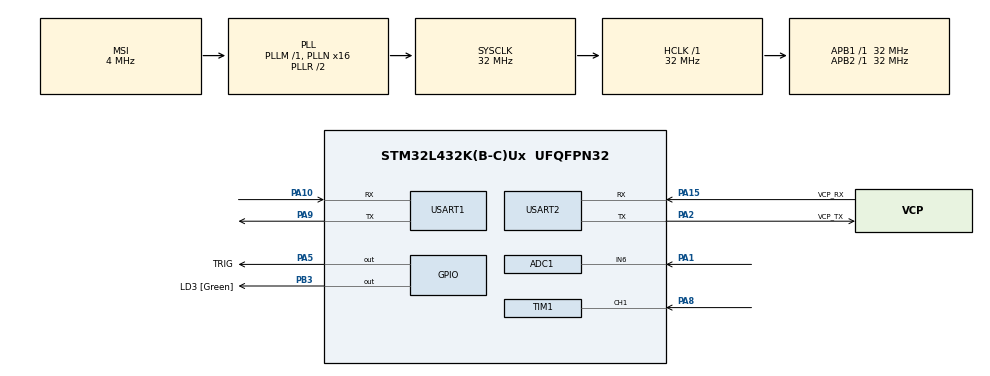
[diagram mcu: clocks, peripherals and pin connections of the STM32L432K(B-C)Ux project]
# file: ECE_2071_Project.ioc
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ADC1.Channel-0\#ChannelRegularConversion=ADC_CHANNEL_6
ADC1.NbrOfConversionFlag=1
ADC1.OffsetNumber-0\#ChannelRegularConversion=ADC_OFFSET_NONE
ADC1.Rank-0\#ChannelRegularConversion=1
ADC1.SamplingTime-0\#ChannelRegularConversion=ADC_SAMPLETIME_2CYCLES_5
ADC1.master=1
Mcu.Family=STM32L4
Mcu.Name=STM32L432K(B-C)Ux
Mcu.Package=UFQFPN32
NVIC.PriorityGroup=NVIC_PRIORITYGROUP_4
NVIC.TIM1_BRK_TIM15_IRQn=true\:0\:0\:false\:false\:true\:true\:true\:true
NVIC.TIM1_CC_IRQn=true\:0\:0\:false\:false\:true\:true\:true\:true
NVIC.TIM1_TRG_COM_IRQn=true\:0\:0\:false\:false\:true\:true\:true\:true
NVIC.TIM1_UP_TIM16_IRQn=true\:0\:0\:false\:false\:true\:true\:true\:true
NVIC.USART1_IRQn=true\:0\:0\:false\:false\:true\:true\:true\:true
PA0.GPIO_Label=MCO [High speed clock in]
PA0.Mode=HSE-External-Clock-Source-for-LittleOrca
PA0.Signal=RCC_CK_IN
PA1.Signal=ADCx_IN6
PA10.Mode=Asynchronous
PA10.Signal=USART1_RX
PA13\ (JTMS-SWDIO).GPIO_Label=SWDIO
PA13\ (JTMS-SWDIO).Mode=Serial_Wire
PA13\ (JTMS-SWDIO).Signal=SYS_JTMS-SWDIO
PA14\ (JTCK-SWCLK).GPIO_Label=SWCLK
PA14\ (JTCK-SWCLK).Mode=Serial_Wire
PA14\ (JTCK-SWCLK).Signal=SYS_JTCK-SWCLK
PA15\ (JTDI).GPIO_Label=VCP_RX
PA15\ (JTDI).Mode=Asynchronous
PA15\ (JTDI).Signal=USART2_RX
PA2.GPIO_Label=VCP_TX
PA2.Mode=Asynchronous
PA2.Signal=USART2_TX
PA5.GPIO_Label=TRIG
PA5.Signal=GPIO_Output
PA8.Signal=S_TIM1_CH1
PA9.Mode=Asynchronous
PA9.Signal=USART1_TX
PB3\ (JTDO-TRACESWO).GPIO_Label=LD3 [Green]
PB3\ (JTDO-TRACESWO).Signal=GPIO_Output
PC14-OSC32_IN\ (PC14).Mode=LSE-External-Oscillator
PC14-OSC32_IN\ (PC14).Signal=RCC_OSC32_IN
PC15-OSC32_OUT\ (PC15).Mode=LSE-External-Oscillator
PC15-OSC32_OUT\ (PC15).Signal=RCC_OSC32_OUT
ProjectManager.HeapSize=0x200
ProjectManager.StackSize=0x400
ProjectManager.TargetToolchain=STM32CubeIDE
RCC.ADCFreq_Value=32000000
RCC.AHBFreq_Value=32000000
RCC.APB1Freq_Value=32000000
RCC.APB1TimFreq_Value=32000000
RCC.APB2Freq_Value=32000000
RCC.APB2TimFreq_Value=32000000
RCC.CortexFreq_Value=32000000
RCC.HCLKFreq_Value=32000000
RCC.HSE_VALUE=8000000
RCC.HSI16_VALUE=16000000
RCC.HSI48_VALUE=48000000
RCC.HSI_VALUE=16000000
RCC.MSI_VALUE=4000000
RCC.PLLMUL=RCC_PLLMUL_4
RCC.PLLN=16
RCC.PLLSAI1N=16
RCC.SYSCLKFreq_VALUE=32000000
RCC.SYSCLKSource=RCC_SYSCLKSOURCE_PLLCLK
RCC.USBFreq_Value=32000000
RCC.VCOOutputFreq_Value=64000000
SH.ADCx_IN6.0=ADC1_IN6,IN6-Single-Ended
SH.S_TIM1_CH1.0=TIM1_CH1,Input_Capture1_from_TI1
TIM1.Channel-Input_Capture1_from_TI1=TIM_CHANNEL_1
TIM1.ICPolarity_CH1=TIM_INPUTCHANNELPOLARITY_BOTHEDGE
TIM1.Prescaler=32-1
USART1.VirtualMode-Asynchronous=VM_ASYNC
USART2.VirtualMode-Asynchronous=VM_ASYNC
VP_TIM1_VS_ClockSourceINT.Mode=Internal
board=NUCLEO-L432KC

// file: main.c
/* USER CODE BEGIN Header */
/**
  ******************************************************************************
  * @file           : main.c
  * @brief          : Main program body
  ******************************************************************************
  * @attention
  *
  * Copyright (c) 2024 STMicroelectronics.
  * All rights reserved.
  *
  * This software is licensed under terms that can be found in the LICENSE file
  * in the root directory of this software component.
  * If no LICENSE file comes with this software, it is provided AS-IS.
  *
  ******************************************************************************
  */
/* USER CODE END Header */
#include "main.h"

/* USER CODE BEGIN Includes */
#include <string.h>
#include <stdio.h>
/* USER CODE END Includes */

ADC_HandleTypeDef hadc1;

TIM_HandleTypeDef htim1;

UART_HandleTypeDef huart1;
UART_HandleTypeDef huart2;

void SystemClock_Config(void);
static void MX_GPIO_Init(void);
static void MX_USART2_UART_Init(void);
static void MX_TIM1_Init(void);
static void MX_USART1_UART_Init(void);
static void MX_ADC1_Init(void);

/* USER CODE BEGIN 0 */
uint8_t icFlag = 0;
uint8_t captureIdx = 0;
uint32_t edge1Time = 0;
uint32_t edge2Time = 0;

int distance;

char uartBuffer[50];

void HAL_TIM_IC_CaptureCallback(TIM_HandleTypeDef *htim){
	HAL_GPIO_TogglePin(LD3_GPIO_Port,LD3_Pin);

	if(captureIdx == 0)// first edge//
		{
		edge1Time = HAL_TIM_ReadCapturedValue(htim, TIM_CHANNEL_1);

		captureIdx = 1;
	}else if(captureIdx == 1)//second edge//
		 {
		edge2Time = HAL_TIM_ReadCapturedValue(htim, TIM_CHANNEL_1);

		captureIdx =0;
		icFlag =1;
	}
}
/* USER CODE END 0 */

int main(void)
{

  /* MCU Configuration--------------------------------------------------------*/

  /* Reset of all peripherals, Initializes the Flash interface and the Systick. */
  HAL_Init();

  /* Configure the system clock */
  SystemClock_Config();

  /* Initialize all configured peripherals */
  MX_GPIO_Init();
  MX_USART2_UART_Init();
  MX_TIM1_Init();
  MX_USART1_UART_Init();
  MX_ADC1_Init();

  /* Infinite loop */
  while (1)
  {

    /* USER CODE BEGIN 3 */
	  	  HAL_GPIO_WritePin(TRIG_GPIO_Port, TRIG_Pin, GPIO_PIN_RESET);
	  	  HAL_Delay(10);

	  	  //OUTPUT 10uSec TRIGGER
	  	  HAL_GPIO_WritePin(TRIG_GPIO_Port, TRIG_Pin, GPIO_PIN_SET);
	  	  HAL_Delay(10);
	  	  HAL_GPIO_WritePin(TRIG_GPIO_Port, TRIG_Pin, GPIO_PIN_RESET);

	  	  // Measuring the echo signal pulse width

	  	  //Start IC timer
	  	  HAL_TIM_IC_Start_IT(&htim1, TIM_CHANNEL_1);
	  	  // Wait for IC flag
	  	  uint32_t startTick = HAL_GetTick();
	  	  do
	  	  {
	  		if(icFlag) break;
	  	  }
	  	  while((HAL_GetTick()-startTick)< 500);//stop the timer if you does not get an echo pulse within 100 usec
	  	  icFlag = 0;
	  	  HAL_TIM_IC_Stop_IT(&htim1, TIM_CHANNEL_1);

	  	  //calculating the distance
	  	  if(edge2Time > edge1Time){
	  		  distance =((edge2Time - edge1Time)* 0.0343/2);
	  	  }else{
	  		  distance = 0.0;
	  	  }
	  	  sprintf(uartBuffer, "%.2d\r\n", distance);
	  	  HAL_UART_Transmit(&huart2, (uint8_t *)uartBuffer, strlen(uartBuffer),100);

	  	  HAL_Delay(100);

  }
  /* USER CODE END 3 */
}

void SystemClock_Config(void)
{
  RCC_OscInitTypeDef RCC_OscInitStruct = {0};
  RCC_ClkInitTypeDef RCC_ClkInitStruct = {0};

  /** Configure the main internal regulator output voltage
  */
  if (HAL_PWREx_ControlVoltageScaling(PWR_REGULATOR_VOLTAGE_SCALE1) != HAL_OK)
  {
    Error_Handler();
  }

  /** Configure LSE Drive Capability
  */
  HAL_PWR_EnableBkUpAccess();
  __HAL_RCC_LSEDRIVE_CONFIG(RCC_LSEDRIVE_LOW);

  /** Initializes the RCC Oscillators according to the specified parameters
  * in the RCC_OscInitTypeDef structure.
  */
  RCC_OscInitStruct.OscillatorType = RCC_OSCILLATORTYPE_LSE|RCC_OSCILLATORTYPE_MSI;
  RCC_OscInitStruct.LSEState = RCC_LSE_ON;
  RCC_OscInitStruct.MSIState = RCC_MSI_ON;
  RCC_OscInitStruct.MSICalibrationValue = 0;
  RCC_OscInitStruct.MSIClockRange = RCC_MSIRANGE_6;
  RCC_OscInitStruct.PLL.PLLState = RCC_PLL_ON;
  RCC_OscInitStruct.PLL.PLLSource = RCC_PLLSOURCE_MSI;
  RCC_OscInitStruct.PLL.PLLM = 1;
  RCC_OscInitStruct.PLL.PLLN = 16;
  RCC_OscInitStruct.PLL.PLLP = RCC_PLLP_DIV7;
  RCC_OscInitStruct.PLL.PLLQ = RCC_PLLQ_DIV2;
  RCC_OscInitStruct.PLL.PLLR = RCC_PLLR_DIV2;
  if (HAL_RCC_OscConfig(&RCC_OscInitStruct) != HAL_OK)
  {
    Error_Handler();
  }

  /** Initializes the CPU, AHB and APB buses clocks
  */
  RCC_ClkInitStruct.ClockType = RCC_CLOCKTYPE_HCLK|RCC_CLOCKTYPE_SYSCLK
                              |RCC_CLOCKTYPE_PCLK1|RCC_CLOCKTYPE_PCLK2;
  RCC_ClkInitStruct.SYSCLKSource = RCC_SYSCLKSOURCE_PLLCLK;
  RCC_ClkInitStruct.AHBCLKDivider = RCC_SYSCLK_DIV1;
  RCC_ClkInitStruct.APB1CLKDivider = RCC_HCLK_DIV1;
  RCC_ClkInitStruct.APB2CLKDivider = RCC_HCLK_DIV1;

  if (HAL_RCC_ClockConfig(&RCC_ClkInitStruct, FLASH_LATENCY_1) != HAL_OK)
  {
    Error_Handler();
  }

  /** Enable MSI Auto calibration
  */
  HAL_RCCEx_EnableMSIPLLMode();
}

static void MX_ADC1_Init(void)
{

  ADC_ChannelConfTypeDef sConfig = {0};

  /** Common config
  */
  hadc1.Instance = ADC1;
  hadc1.Init.ClockPrescaler = ADC_CLOCK_ASYNC_DIV1;
  hadc1.Init.Resolution = ADC_RESOLUTION_12B;
  hadc1.Init.DataAlign = ADC_DATAALIGN_RIGHT;
  hadc1.Init.ScanConvMode = ADC_SCAN_DISABLE;
  hadc1.Init.EOCSelection = ADC_EOC_SINGLE_CONV;
  hadc1.Init.LowPowerAutoWait = DISABLE;
  hadc1.Init.ContinuousConvMode = DISABLE;
  hadc1.Init.NbrOfConversion = 1;
  hadc1.Init.DiscontinuousConvMode = DISABLE;
  hadc1.Init.ExternalTrigConv = ADC_SOFTWARE_START;
  hadc1.Init.ExternalTrigConvEdge = ADC_EXTERNALTRIGCONVEDGE_NONE;
  hadc1.Init.DMAContinuousRequests = DISABLE;
  hadc1.Init.Overrun = ADC_OVR_DATA_PRESERVED;
  hadc1.Init.OversamplingMode = DISABLE;
  if (HAL_ADC_Init(&hadc1) != HAL_OK)
  {
    Error_Handler();
  }

  /** Configure Regular Channel
  */
  sConfig.Channel = ADC_CHANNEL_6;
  sConfig.Rank = ADC_REGULAR_RANK_1;
  sConfig.SamplingTime = ADC_SAMPLETIME_2CYCLES_5;
  sConfig.SingleDiff = ADC_SINGLE_ENDED;
  sConfig.OffsetNumber = ADC_OFFSET_NONE;
  sConfig.Offset = 0;
  if (HAL_ADC_ConfigChannel(&hadc1, &sConfig) != HAL_OK)
  {
    Error_Handler();
  }

}

static void MX_TIM1_Init(void)
{

  TIM_ClockConfigTypeDef sClockSourceConfig = {0};
  TIM_MasterConfigTypeDef sMasterConfig = {0};
  TIM_IC_InitTypeDef sConfigIC = {0};

  htim1.Instance = TIM1;
  htim1.Init.Prescaler = 32-1;
  htim1.Init.CounterMode = TIM_COUNTERMODE_UP;
  htim1.Init.Period = 65535;
  htim1.Init.ClockDivision = TIM_CLOCKDIVISION_DIV1;
  htim1.Init.RepetitionCounter = 0;
  htim1.Init.AutoReloadPreload = TIM_AUTORELOAD_PRELOAD_DISABLE;
  if (HAL_TIM_Base_Init(&htim1) != HAL_OK)
  {
    Error_Handler();
  }
  sClockSourceConfig.ClockSource = TIM_CLOCKSOURCE_INTERNAL;
  if (HAL_TIM_ConfigClockSource(&htim1, &sClockSourceConfig) != HAL_OK)
  {
    Error_Handler();
  }
  if (HAL_TIM_IC_Init(&htim1) != HAL_OK)
  {
    Error_Handler();
  }
  sMasterConfig.MasterOutputTrigger = TIM_TRGO_RESET;
  sMasterConfig.MasterOutputTrigger2 = TIM_TRGO2_RESET;
  sMasterConfig.MasterSlaveMode = TIM_MASTERSLAVEMODE_DISABLE;
  if (HAL_TIMEx_MasterConfigSynchronization(&htim1, &sMasterConfig) != HAL_OK)
  {
    Error_Handler();
  }
  sConfigIC.ICPolarity = TIM_INPUTCHANNELPOLARITY_BOTHEDGE;
  sConfigIC.ICSelection = TIM_ICSELECTION_DIRECTTI;
  sConfigIC.ICPrescaler = TIM_ICPSC_DIV1;
  sConfigIC.ICFilter = 0;
  if (HAL_TIM_IC_ConfigChannel(&htim1, &sConfigIC, TIM_CHANNEL_1) != HAL_OK)
  {
    Error_Handler();
  }

}

static void MX_USART1_UART_Init(void)
{

  huart1.Instance = USART1;
  huart1.Init.BaudRate = 115200;
  huart1.Init.WordLength = UART_WORDLENGTH_8B;
  huart1.Init.StopBits = UART_STOPBITS_1;
  huart1.Init.Parity = UART_PARITY_NONE;
  huart1.Init.Mode = UART_MODE_TX_RX;
  huart1.Init.HwFlowCtl = UART_HWCONTROL_NONE;
  huart1.Init.OverSampling = UART_OVERSAMPLING_16;
  huart1.Init.OneBitSampling = UART_ONE_BIT_SAMPLE_DISABLE;
  huart1.AdvancedInit.AdvFeatureInit = UART_ADVFEATURE_NO_INIT;
  if (HAL_UART_Init(&huart1) != HAL_OK)
  {
    Error_Handler();
  }

}

static void MX_USART2_UART_Init(void)
{

  huart2.Instance = USART2;
  huart2.Init.BaudRate = 115200;
  huart2.Init.WordLength = UART_WORDLENGTH_8B;
  huart2.Init.StopBits = UART_STOPBITS_1;
  huart2.Init.Parity = UART_PARITY_NONE;
  huart2.Init.Mode = UART_MODE_TX_RX;
  huart2.Init.HwFlowCtl = UART_HWCONTROL_NONE;
  huart2.Init.OverSampling = UART_OVERSAMPLING_16;
  huart2.Init.OneBitSampling = UART_ONE_BIT_SAMPLE_DISABLE;
  huart2.AdvancedInit.AdvFeatureInit = UART_ADVFEATURE_NO_INIT;
  if (HAL_UART_Init(&huart2) != HAL_OK)
  {
    Error_Handler();
  }

}

static void MX_GPIO_Init(void)
{
  GPIO_InitTypeDef GPIO_InitStruct = {0};

  /* GPIO Ports Clock Enable */
  __HAL_RCC_GPIOC_CLK_ENABLE();
  __HAL_RCC_GPIOA_CLK_ENABLE();
  __HAL_RCC_GPIOB_CLK_ENABLE();

  /*Configure GPIO pin Output Level */
  HAL_GPIO_WritePin(TRIG_GPIO_Port, TRIG_Pin, GPIO_PIN_RESET);

  /*Configure GPIO pin Output Level */
  HAL_GPIO_WritePin(LD3_GPIO_Port, LD3_Pin, GPIO_PIN_RESET);

  /*Configure GPIO pin : TRIG_Pin */
  GPIO_InitStruct.Pin = TRIG_Pin;
  GPIO_InitStruct.Mode = GPIO_MODE_OUTPUT_PP;
  GPIO_InitStruct.Pull = GPIO_NOPULL;
  GPIO_InitStruct.Speed = GPIO_SPEED_FREQ_LOW;
  HAL_GPIO_Init(TRIG_GPIO_Port, &GPIO_InitStruct);

  /*Configure GPIO pin : LD3_Pin */
  GPIO_InitStruct.Pin = LD3_Pin;
  GPIO_InitStruct.Mode = GPIO_MODE_OUTPUT_PP;
  GPIO_InitStruct.Pull = GPIO_NOPULL;
  GPIO_InitStruct.Speed = GPIO_SPEED_FREQ_LOW;
  HAL_GPIO_Init(LD3_GPIO_Port, &GPIO_InitStruct);

}

void Error_Handler(void)
{
  __disable_irq();
  while (1)
  {
  }
}
